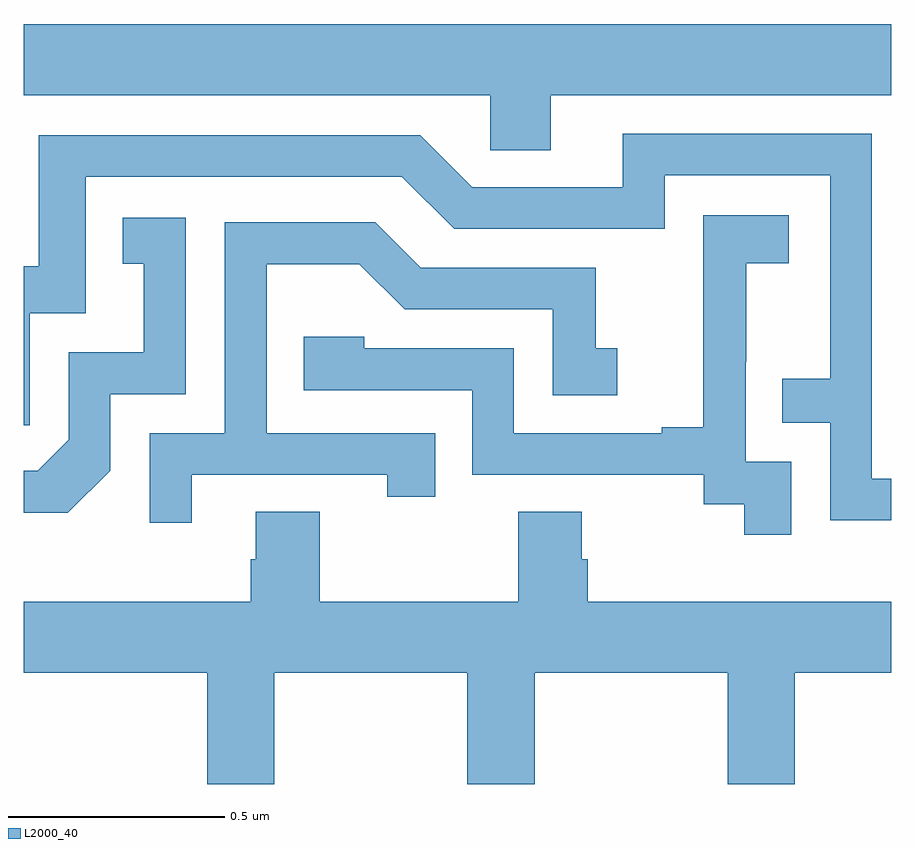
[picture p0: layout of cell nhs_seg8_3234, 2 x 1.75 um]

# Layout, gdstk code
import gdstk
lib = gdstk.Library(unit=1e-6, precision=1e-09)
def P(c, l, *ps):  # polygons
    for p in ps: c.add(gdstk.Polygon(p, *l))
L2000_40 = (2000, 40)

nhs_seg8_3234 = lib.new_cell('nhs_seg8_3234')
P(nhs_seg8_3234, L2000_40, [(155.215,1128.488),(156,1128.488),(156,1128.652),(154,1128.652),(154,1128.488),(155.076,1128.488),(155.076,1128.361),(155.215,1128.361)],
  [(156,1127.604),(155.955,1127.604),(155.955,1128.399),(155.381,1128.399),(155.381,1128.276),(155.034,1128.276),(154.914,1128.396),(154.035,1128.396),(154.035,1128.094),(154,1128.094),(154,1127.727),(154.014,1127.727),(154.014,1127.985),(154.143,1127.985),(154.143,1128.3),(154.872,1128.3),(154.992,1128.18),(155.478,1128.18),(155.478,1128.303),(155.859,1128.303),(155.859,1127.834),(155.749,1127.834),(155.749,1127.733),(155.859,1127.733),(155.859,1127.508),(156,1127.508)],
  [(155.769,1127.643),(155.664,1127.643),(155.664,1127.873),(155.666,1127.873),(155.666,1128.101),(155.764,1128.101),(155.764,1128.211),(155.566,1128.211),(155.566,1128.005),(155.567,1128.005),(155.567,1127.722),(155.471,1127.722),(155.471,1127.709),(155.13,1127.709),(155.13,1127.904),(154.785,1127.904),(154.785,1127.931),(154.645,1127.931),(154.645,1127.808),(155.034,1127.808),(155.034,1127.613),(155.568,1127.613),(155.568,1127.545),(155.661,1127.545),(155.661,1127.475),(155.769,1127.475)],
  [(154.2,1127.622),(154.2,1127.799),(154.374,1127.799),(154.374,1128.205),(154.228,1128.205),(154.228,1128.099),(154.277,1128.099),(154.277,1127.895),(154.104,1127.895),(154.104,1127.694),(154.032,1127.622),(154,1127.622),(154,1127.525),(154.102,1127.525)],
  [(154.387,1127.613),(154.838,1127.613),(154.838,1127.562),(154.949,1127.562),(154.949,1127.709),(154.56,1127.709),(154.56,1128.098),(154.774,1128.098),(154.878,1127.994),(155.22,1127.994),(155.22,1127.796),(155.368,1127.796),(155.368,1127.905),(155.319,1127.905),(155.319,1128.09),(154.915,1128.09),(154.81,1128.195),(154.464,1128.195),(154.464,1127.709),(154.29,1127.709),(154.29,1127.502),(154.387,1127.502)],
  [(154.578,1127.156),(155.023,1127.156),(155.023,1126.9),(155.178,1126.9),(155.178,1127.156),(155.623,1127.156),(155.623,1126.9),(155.778,1126.9),(155.778,1127.156),(156,1127.156),(156,1127.32),(155.3,1127.32),(155.3,1127.418),(155.287,1127.418),(155.287,1127.528),(155.14,1127.528),(155.14,1127.32),(154.683,1127.32),(154.683,1127.528),(154.535,1127.528),(154.535,1127.418),(154.523,1127.418),(154.523,1127.32),(154,1127.32),(154,1127.156),(154.423,1127.156),(154.423,1126.9),(154.578,1126.9)])

lib.write_gds('nhs_seg8_3234.gds')
